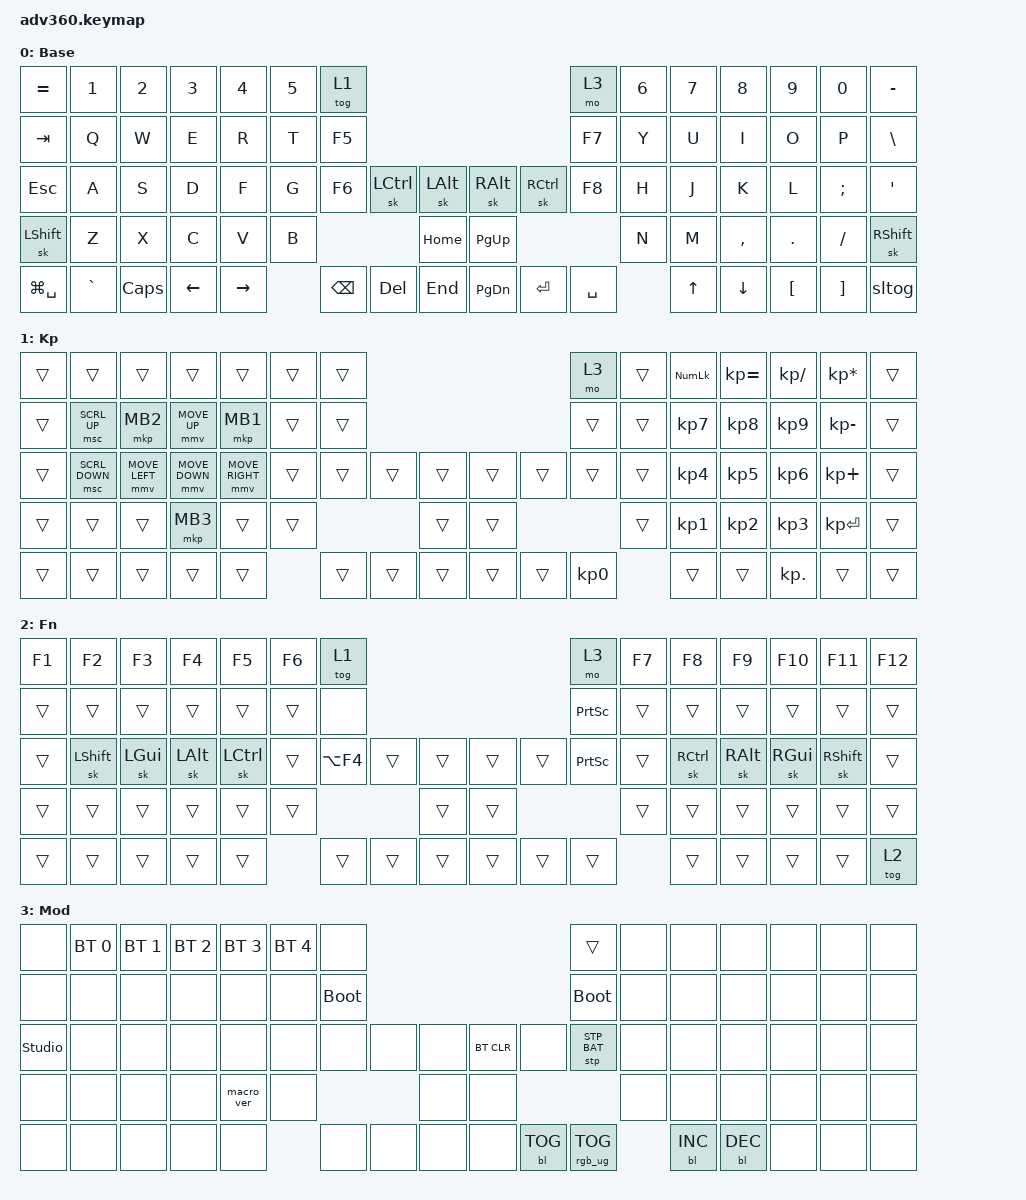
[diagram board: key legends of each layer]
#include <dt-bindings/zmk/stp.h>
#include <behaviors.dtsi>
#include <dt-bindings/zmk/backlight.h>
#include <dt-bindings/zmk/bt.h>
#include <dt-bindings/zmk/keys.h>
#include <dt-bindings/zmk/pointing.h>
#include <dt-bindings/zmk/rgb.h>

&sk {
    release-after-ms = <2000>;
    quick-release;
};

&sl { release-after-ms = <2000>; };

&lt { require-prior-idle-ms = <150>; };

/ {
    behaviors {
        #include "macros.dtsi"
      #include "version.dtsi"

        hm: homerow_mods {
            compatible = "zmk,behavior-hold-tap";
            label = "HOMEROW_MODS";
            #binding-cells = <2>;
            tapping-term-ms = <200>;
            quick_tap_ms = <175>;
            flavor = "tap-preferred";
            bindings = <&kp>, <&kp>;
        };

        hrl: hrl {
            compatible = "zmk,behavior-hold-tap";
            label = "HRL";
            bindings = <&kp>, <&kp>;

            #binding-cells = <2>;
            tapping-term-ms = <280>;
            quick-tap-ms = <175>;
            require-prior-idle-ms = <175>;
            flavor = "balanced";
            hold-trigger-on-release;
            hold-trigger-key-positions = <7 8 9 10 11 12 13 21 22 23 24 25 26 27 37 38 39 40 41 42 43 44 45 53 54 55 56 57 58 59 68 69 70 71 72 73 74 75>;
        };

        hrr: hrr {
            compatible = "zmk,behavior-hold-tap";
            label = "HRR";
            bindings = <&kp>, <&kp>;

            #binding-cells = <2>;
            tapping-term-ms = <280>;
            quick-tap-ms = <175>;
            require-prior-idle-ms = <175>;
            flavor = "balanced";
            hold-trigger-on-release;
            hold-trigger-key-positions = <0 1 2 3 4 5 6 14 15 16 17 18 19 20 28 29 30 31 32 33 34 35 36 46 47 48 49 50 51 52 60 61 62 63 64 65 66 67>;
        };

        sltog: sltog {
            compatible = "zmk,behavior-tap-dance";
            label = "SLTOG";
            #binding-cells = <0>;
            bindings = <&sl 2>, <&tog 2>;
        };
    };

    combos { compatible = "zmk,combos"; };

    keymap {
        compatible = "zmk,keymap";

        default_layer {
            display-name = "Base";
            bindings = <
&kp EQUAL       &kp N1     &kp N2    &kp N3    &kp N4     &kp N5  &tog 1                                                                               &mo 3      &kp N6  &kp N7  &kp N8     &kp N9    &kp N0         &kp MINUS
&kp TAB         &kp Q      &kp W     &kp E     &kp R      &kp T   &kp F5                                                                               &kp F7     &kp Y   &kp U   &kp I      &kp O     &kp P          &kp BSLH
&kp ESC         &kp A      &kp S     &kp D     &kp F      &kp G   &kp F6         &sk LEFT_CONTROL  &sk LEFT_ALT      &sk RIGHT_ALT  &sk RIGHT_CONTROL  &kp F8     &kp H   &kp J   &kp K      &kp L     &kp SEMICOLON  &kp SQT
&sk LEFT_SHIFT  &kp Z      &kp X     &kp C     &kp V      &kp B                                    &kp HOME          &kp PAGE_UP                                  &kp N   &kp M   &kp COMMA  &kp DOT   &kp FSLH       &sk RIGHT_SHIFT
&kp LG(SPACE)   &kp GRAVE  &kp CAPS  &kp LEFT  &kp RIGHT          &kp BACKSPACE  &kp DELETE        &kp END           &kp PAGE_DOWN  &kp ENTER          &kp SPACE          &kp UP  &kp DOWN   &kp LBKT  &kp RBKT       &sltog
            >;
        };

        keypad {
            display-name = "Kp";
            bindings = <
&trans  &trans          &trans          &trans          &trans           &trans  &trans                                      &mo 3      &trans  &kp KP_NUM  &kp KP_EQUAL  &kp KP_DIVIDE  &kp KP_MULTIPLY  &trans
&trans  &msc SCRL_UP    &mkp MB2        &mmv MOVE_UP    &mkp MB1         &trans  &trans                                      &trans     &trans  &kp KP_N7   &kp KP_N8     &kp KP_N9      &kp KP_MINUS     &trans
&trans  &msc SCRL_DOWN  &mmv MOVE_LEFT  &mmv MOVE_DOWN  &mmv MOVE_RIGHT  &trans  &trans  &trans  &trans      &trans  &trans  &trans     &trans  &kp KP_N4   &kp KP_N5     &kp KP_N6      &kp KP_PLUS      &trans
&trans  &trans          &trans          &mkp MB3        &trans           &trans                  &trans      &trans                     &trans  &kp KP_N1   &kp KP_N2     &kp KP_N3      &kp KP_ENTER     &trans
&trans  &trans          &trans          &trans          &trans                   &trans  &trans  &trans      &trans  &trans  &kp KP_N0          &trans      &trans        &kp KP_DOT     &trans           &trans
            >;
        };

        fn {
            display-name = "Fn";
            bindings = <
&kp F1  &kp F2          &kp F3        &kp F4        &kp F5            &kp F6  &tog 1                                          &mo 3            &kp F7  &kp F8             &kp F9         &kp F10        &kp F11          &kp F12
&trans  &trans          &trans        &trans        &trans            &trans  &none                                           &kp PRINTSCREEN  &trans  &trans             &trans         &trans         &trans           &trans
&trans  &sk LEFT_SHIFT  &sk LEFT_GUI  &sk LEFT_ALT  &sk LEFT_CONTROL  &trans  &kp LA(F4)  &trans  &trans      &trans  &trans  &kp PRINTSCREEN  &trans  &sk RIGHT_CONTROL  &sk RIGHT_ALT  &sk RIGHT_GUI  &sk RIGHT_SHIFT  &trans
&trans  &trans          &trans        &trans        &trans            &trans                      &trans      &trans                           &trans  &trans             &trans         &trans         &trans           &trans
&trans  &trans          &trans        &trans        &trans                    &trans      &trans  &trans      &trans  &trans  &trans                   &trans             &trans         &trans         &trans           &tog 2
            >;
        };

        mod {
            display-name = "Mod";
            bindings = <
&none           &bt BT_SEL 0  &bt BT_SEL 1  &bt BT_SEL 2  &bt BT_SEL 3  &bt BT_SEL 4  &none                                                  &trans           &none  &none       &none       &none  &none  &none
&none           &none         &none         &none         &none         &none         &bootloader                                            &bootloader      &none  &none       &none       &none  &none  &none
&studio_unlock  &none         &none         &none         &none         &none         &none        &none  &none      &bt BT_CLR  &none       &stp STP_BAT     &none  &none       &none       &none  &none  &none
&none           &none         &none         &none         &macro_ver    &none                             &none      &none                                    &none  &none       &none       &none  &none  &none
&none           &none         &none         &none         &none                       &none        &none  &none      &none       &bl BL_TOG  &rgb_ug RGB_TOG         &bl BL_INC  &bl BL_DEC  &none  &none  &none
            >;
        };

        extra1 {
            display-name = "Red";
            status = "reserved";
        };

        extra2 {
            display-name = "Purple";
            status = "reserved";
        };

        extra3 {
            display-name = "Cyan";
            status = "reserved";
        };

        extra4 {
            display-name = "Yellow";
            status = "reserved";
        };
    };
};
